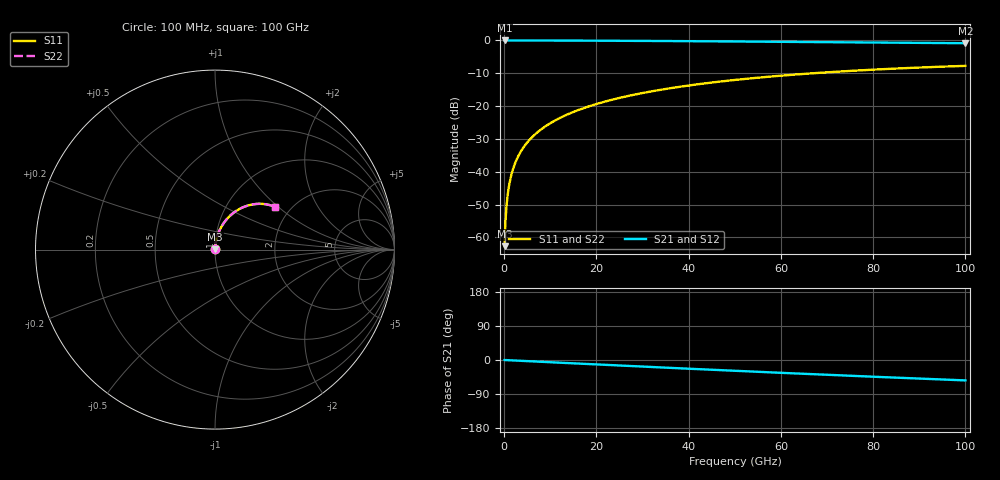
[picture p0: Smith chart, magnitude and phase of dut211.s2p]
! Touchstone file exported from HFSS 2026.1.0
!  File:  C:/ffzhzh/LocalFiles/Ansys_Project_Files/temp_train_TSV_211_1783507660_9504.aedt
!  Generated:  06:49:07 PM Jul  8, 2026
!  Design:  TSV
!  Project:  temp_train_TSV_211_1783507660_9504
! Variables:
!  h_bsmrdl = 2um
!  h_ox = 20um
!  h_rdl = 5um
!  h_sub = 97.29um
!  h_tmrdl = 5um
!  h_tsv = 97.29um
!  h_via = 3um
!  l_bsmrdl = 300um
!  l_sub = 410.42um
!  l_tmrdl = 200um
!  m_sub = 200um
!  pitch = 52.9um
!  r_tsv = 5.21um
!  s_tmrdl = 10um
!  w_bsmrdl = 18um
!  w_sub = 500um
!  w_tmrdl = 12um
!  x_tsv_center1 = 206um
!  x_tsv_center2 = 524um
!  x_tsv_center3 = 736um
!  x_tsv_center4 = 1054um
!  x_tsv_center5 = 1266um
!  x_tsv_center6 = 1584um
# GHz S MA R 50.000000
! Terminal data exported
! Port[1] = TSV1_1_T1
! Port[2] = TSV1_1_T2
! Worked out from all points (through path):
!   1000 points, 100 MHz to 100 GHz, reference 50 ohm
!   highest |S21| = 0.00 dB at 100 MHz (marker M1); lowest = -0.8 dB at 100 GHz (marker M2)
!   group delay of S21, straight-line fit = 1.5 ps
!   lowest |S11| = -62.7 dB at 100 MHz (marker M3), VSWR 1.00, Z = 50 + j0.0591 ohm
!   |S11| at or under -10 dB: start of sweep to 66.9 GHz
!   |S22| runs from -62.7 to -7.7 dB; largest |S21 - S12| = 3.6e-15
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0.1  0.000736 53.4  0.9996 -0.1  0.9996 -0.1  0.000736 53.4
! Gamma 0 0 0 0
! Port Impedance 50 0 50 0
0.4  0.002367 78.2  0.9995 -0.2  0.9995 -0.2  0.002367 78.2
0.7  0.004068 82.5  0.9995 -0.4  0.9995 -0.4  0.004068 82.5
0.8  0.004637 83.2  0.9995 -0.5  0.9995 -0.5  0.004637 83.2
1.1  0.006344 84.3  0.9994 -0.7  0.9994 -0.7  0.006344 84.3
1.4  0.008045 84.9  0.9994 -0.8  0.9994 -0.8  0.008045 84.9
1.9  0.01086 85.2  0.9993 -1.1  0.9993 -1.1  0.01086 85.2
2.4  0.01366 85.3  0.9991 -1.4  0.9991 -1.4  0.01366 85.3
3  0.01698 85.2  0.999 -1.8  0.999 -1.8  0.01698 85.2
3.8  0.02137 84.9  0.9987 -2.3  0.9987 -2.3  0.02137 84.9
4.8  0.02682 84.6  0.9984 -2.9  0.9984 -2.9  0.02682 84.6
6  0.03332 84.1  0.9981 -3.6  0.9981 -3.6  0.03332 84.1
8.8  0.04842 82.9  0.9972 -5.2  0.9972 -5.2  0.04842 82.9
12.4  0.06768 81.1  0.9958 -7.3  0.9958 -7.3  0.06768 81.1
16.8  0.0909 78.7  0.9936 -9.8  0.9936 -9.8  0.0909 78.7
24.2  0.1291 74.7  0.989 -14.1  0.989 -14.1  0.1291 74.7
33.4  0.1747 69.7  0.9815 -19.3  0.9815 -19.3  0.1747 69.7
41.2  0.2114 65.4  0.974 -23.7  0.974 -23.7  0.2114 65.4
50.1  0.2507 60.6  0.9644 -28.5  0.9644 -28.5  0.2507 60.6
66.7  0.3155 52.0  0.9449 -37.3  0.9449 -37.3  0.3155 52.0
83.4  0.369 43.6  0.9252 -45.8  0.9252 -45.8  0.369 43.6
100  0.41 35.6  0.9076 -53.9  0.9076 -53.9  0.41 35.6
